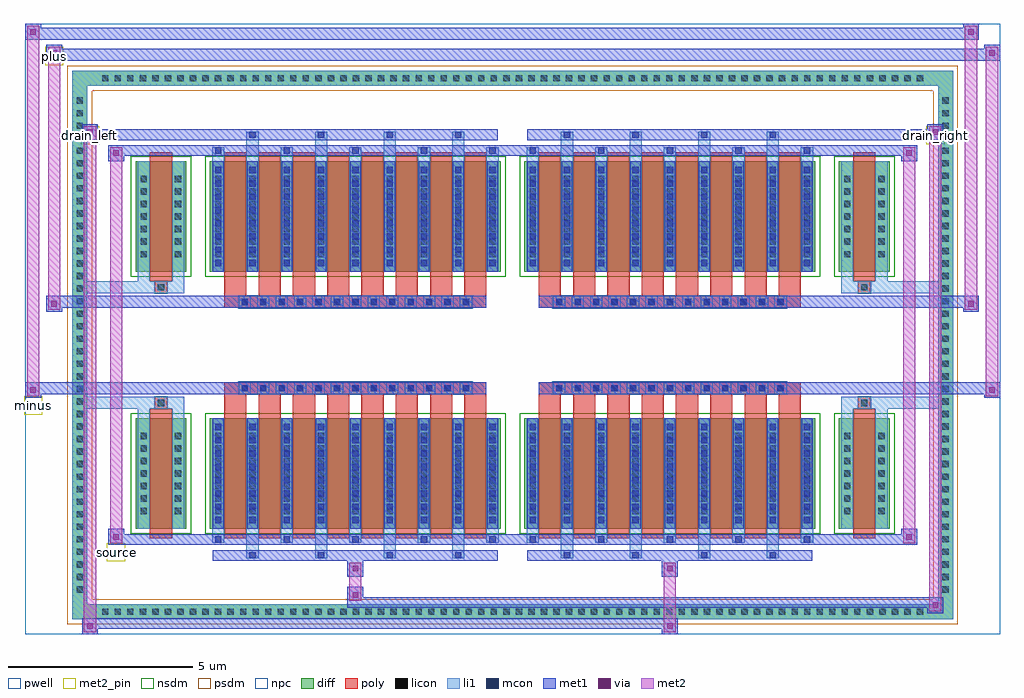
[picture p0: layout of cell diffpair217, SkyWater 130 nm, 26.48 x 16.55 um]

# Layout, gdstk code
import gdstk
lib = gdstk.Library(unit=1e-6, precision=5e-09)
def R(c, l, rs):  # rectangles x0, y0, x1, y1
    for r in rs: c.add(gdstk.rectangle(r[:2], r[2:], *l))
def A(c, l, x, y, w, h, nx, ny, dx, dy):  # array of equal rectangles
    R(c, l, [(x+i*dx, y+j*dy, x+i*dx+w, y+j*dy+h) for i in range(nx) for j in range(ny)])
def P(c, l, *ps):  # polygons
    for p in ps: c.add(gdstk.Polygon(p, *l))
pwell = (64, 44)
diff = (65, 20)
poly = (66, 20)
licon = (66, 44)
li1 = (67, 20)
mcon = (67, 44)
met1 = (68, 20)
via = (68, 44)
met2_pin = (69, 16)
met2 = (69, 20)
nsdm = (93, 44)
psdm = (94, 20)
npc = (95, 20)

diffpair217 = lib.new_cell('diffpair217')
R(diffpair217, pwell, [(-13.22,-7.84,13.22,8.71), (-10.54,-6.03,-0.01,-0.805), (0.01,-6.03,10.54,-0.805), (-10.54,0.805,-0.01,6.03), (0.01,0.805,10.54,6.03)])
A(diffpair217, diff, -11.255, -7.44, 0.41, 0.41, 66, 2, 0.34, 14.47)
A(diffpair217, diff, -11.95, -6.835, 0.41, 0.41, 1, 40, 0, 0.34)
A(diffpair217, diff, 11.54, -6.835, 0.41, 0.41, 1, 40, 0, 0.34)
R(diffpair217, diff, [(-11.255,-7.44,11.255,-7.03), (-11.95,-6.835,-11.54,6.835), (11.54,-6.835,11.95,6.835), (-10.23,-4.985,-8.85,-1.985), (-8.21,-4.985,-0.32,-1.985), (0.32,-4.985,8.21,-1.985), (8.85,-4.985,10.23,-1.985), (-10.23,1.985,-8.85,4.985), (-8.21,1.985,-0.32,4.985), (0.32,1.985,8.21,4.985), (8.85,1.985,10.23,4.985), (-11.255,7.03,11.255,7.44)])
P(diffpair217, diff, [(11.95,7.44),(-11.95,7.44),(-11.95,-7.03),(-11.54,-7.03),(-11.54,7.03),(11.54,7.03),(11.54,-7.03),(-11.54,-7.03),(-11.95,-7.03),(-11.95,-7.44),(11.95,-7.44)])
A(diffpair217, poly, -7.82, -5.235, 0.6, 3.5, 8, 2, 0.93, 6.97)
A(diffpair217, poly, 0.71, -5.235, 0.6, 3.5, 8, 2, 0.93, 6.97)
A(diffpair217, poly, -7.82, -1.735, 0.6, 0.4, 8, 2, 0.93, 3.07)
A(diffpair217, poly, 0.71, -1.735, 0.6, 0.4, 8, 2, 0.93, 3.07)
A(diffpair217, poly, -7.43, -1.335, 0.33, 0.33, 13, 2, 0.5, 2.34)
A(diffpair217, poly, 1.1, -1.335, 0.33, 0.33, 13, 2, 0.5, 2.34)
R(diffpair217, poly, [(-9.84,-5.235,-9.24,-1.735), (9.24,-5.235,9.84,-1.735), (-9.705,-1.735,-9.375,-1.405), (-9.705,-1.735,-9.375,-1.405), (9.375,-1.735,9.705,-1.405), (9.375,-1.735,9.705,-1.405), (-7.82,-1.335,-0.71,-1.005), (0.71,-1.335,7.82,-1.005), (-7.82,1.005,-0.71,1.335), (0.71,1.005,7.82,1.335), (-9.705,1.405,-9.375,1.735), (-9.705,1.405,-9.375,1.735), (9.375,1.405,9.705,1.735), (9.375,1.405,9.705,1.735), (-9.84,1.735,-9.24,5.235), (9.24,1.735,9.84,5.235)])
A(diffpair217, licon, -11.135, -7.32, 0.17, 0.17, 66, 2, 0.34, 14.47)
A(diffpair217, licon, -11.83, -6.715, 0.17, 0.17, 1, 40, 0, 0.34)
A(diffpair217, licon, 11.66, -6.715, 0.17, 0.17, 1, 40, 0, 0.34)
A(diffpair217, licon, -10.09, -4.59, 0.17, 0.17, 1, 7, 0, 0.34)
A(diffpair217, licon, -9.16, -4.59, 0.17, 0.17, 1, 7, 0, 0.34)
A(diffpair217, licon, -8.07, -4.59, 0.17, 0.17, 9, 7, 0.93, 0.34)
A(diffpair217, licon, 0.46, -4.59, 0.17, 0.17, 9, 7, 0.93, 0.34)
A(diffpair217, licon, 8.99, -4.59, 0.17, 0.17, 1, 7, 0, 0.34)
A(diffpair217, licon, 9.92, -4.59, 0.17, 0.17, 1, 7, 0, 0.34)
A(diffpair217, licon, -7.35, -1.255, 0.17, 0.17, 13, 2, 0.5, 2.34)
A(diffpair217, licon, 1.18, -1.255, 0.17, 0.17, 13, 2, 0.5, 2.34)
A(diffpair217, licon, -10.09, 2.38, 0.17, 0.17, 1, 7, 0, 0.34)
A(diffpair217, licon, -9.16, 2.38, 0.17, 0.17, 1, 7, 0, 0.34)
A(diffpair217, licon, -8.07, 2.38, 0.17, 0.17, 9, 7, 0.93, 0.34)
A(diffpair217, licon, 0.46, 2.38, 0.17, 0.17, 9, 7, 0.93, 0.34)
A(diffpair217, licon, 8.99, 2.38, 0.17, 0.17, 1, 7, 0, 0.34)
A(diffpair217, licon, 9.92, 2.38, 0.17, 0.17, 1, 7, 0, 0.34)
R(diffpair217, licon, [(-9.625,-1.655,-9.455,-1.485), (9.455,-1.655,9.625,-1.485), (-9.625,1.485,-9.455,1.655), (9.455,1.485,9.625,1.655)])
A(diffpair217, li1, -11.215, -7.4, 0.33, 0.33, 66, 2, 0.34, 14.47)
A(diffpair217, li1, -11.91, -6.795, 0.33, 0.33, 1, 40, 0, 0.34)
A(diffpair217, li1, 11.58, -6.795, 0.33, 0.33, 1, 40, 0, 0.34)
A(diffpair217, li1, -7.22, -5.79, 0.33, 0.805, 4, 2, 1.86, 10.775)
A(diffpair217, li1, -7.14, -5.79, 0.17, 0.17, 4, 2, 1.86, 11.41)
A(diffpair217, li1, 1.31, -5.79, 0.33, 0.805, 4, 2, 1.86, 10.775)
A(diffpair217, li1, 1.39, -5.79, 0.17, 0.17, 4, 2, 1.86, 11.41)
A(diffpair217, li1, -8.15, -5.36, 0.33, 0.375, 5, 2, 1.86, 10.345)
A(diffpair217, li1, -8.07, -5.36, 0.17, 0.17, 5, 2, 1.86, 10.55)
A(diffpair217, li1, 0.38, -5.36, 0.33, 0.375, 5, 2, 1.86, 10.345)
A(diffpair217, li1, 0.46, -5.36, 0.17, 0.17, 5, 2, 1.86, 10.55)
A(diffpair217, li1, -8.15, -4.985, 0.33, 3, 9, 2, 0.93, 6.97)
A(diffpair217, li1, 0.38, -4.985, 0.33, 3, 9, 2, 0.93, 6.97)
A(diffpair217, li1, -8.07, -4.83, 0.17, 0.17, 9, 8, 0.93, 0.36)
A(diffpair217, li1, -8.07, -4.83, 0.17, 2.69, 9, 2, 0.93, 6.97)
A(diffpair217, li1, 0.46, -4.83, 0.17, 0.17, 9, 8, 0.93, 0.36)
A(diffpair217, li1, 0.46, -4.83, 0.17, 2.69, 9, 2, 0.93, 6.97)
A(diffpair217, li1, -10.17, -4.67, 0.33, 0.33, 1, 7, 0, 0.34)
A(diffpair217, li1, -9.24, -4.67, 0.33, 0.33, 1, 7, 0, 0.34)
A(diffpair217, li1, -8.15, -4.67, 0.33, 0.33, 9, 7, 0.93, 0.34)
A(diffpair217, li1, 0.38, -4.67, 0.33, 0.33, 9, 7, 0.93, 0.34)
A(diffpair217, li1, 8.91, -4.67, 0.33, 0.33, 1, 7, 0, 0.34)
A(diffpair217, li1, 9.84, -4.67, 0.33, 0.33, 1, 7, 0, 0.34)
A(diffpair217, li1, -7.43, -1.335, 0.33, 0.33, 13, 2, 0.5, 2.34)
A(diffpair217, li1, 1.1, -1.335, 0.33, 0.33, 13, 2, 0.5, 2.34)
A(diffpair217, li1, -8.07, 2.14, 0.17, 0.17, 9, 8, 0.93, 0.36)
A(diffpair217, li1, 0.46, 2.14, 0.17, 0.17, 9, 8, 0.93, 0.36)
A(diffpair217, li1, -10.17, 2.3, 0.33, 0.33, 1, 7, 0, 0.34)
A(diffpair217, li1, -9.24, 2.3, 0.33, 0.33, 1, 7, 0, 0.34)
A(diffpair217, li1, -8.15, 2.3, 0.33, 0.33, 9, 7, 0.93, 0.34)
A(diffpair217, li1, 0.38, 2.3, 0.33, 0.33, 9, 7, 0.93, 0.34)
A(diffpair217, li1, 8.91, 2.3, 0.33, 0.33, 1, 7, 0, 0.34)
A(diffpair217, li1, 9.84, 2.3, 0.33, 0.33, 1, 7, 0, 0.34)
R(diffpair217, li1, [(-11.95,-7.44,-11.54,-7.03), (-11.95,-7.44,-11.54,-7.03), (-11.54,-7.44,11.54,-7.03), (11.54,-7.44,11.95,-7.03), (11.54,-7.44,11.95,-7.03), (-11.95,-7.03,-11.54,7.03), (11.54,-7.03,11.95,7.03), (-10.17,-4.985,-9.84,-1.985), (-9.24,-4.985,-8.91,-1.985), (8.91,-4.985,9.24,-1.985), (9.84,-4.985,10.17,-1.985), (-10.17,-1.985,-9.84,-1.405), (-9.24,-1.985,-8.91,-1.405), (8.91,-1.985,9.24,-1.405), (9.84,-1.985,10.17,-1.405), (-11.95,-1.735,-9.705,-1.405), (-10.17,-1.735,-9.705,-1.405), (-9.705,-1.735,-9.375,-1.405), (-9.375,-1.735,-8.91,-1.405), (8.91,-1.735,9.375,-1.405), (9.375,-1.735,9.705,-1.405), (9.375,-1.735,11.95,-1.405), (9.705,-1.735,10.17,-1.405), (-11.95,1.405,-9.705,1.735), (-10.17,1.405,-9.705,1.735), (-10.17,1.405,-9.84,1.985), (-9.705,1.405,-9.375,1.735), (-9.375,1.405,-8.91,1.735), (-9.24,1.405,-8.91,1.985), (8.91,1.405,9.375,1.735), (8.91,1.405,9.24,1.985), (9.375,1.405,9.705,1.735), (9.375,1.405,11.95,1.735), (9.705,1.405,10.17,1.735), (9.84,1.405,10.17,1.985), (-10.17,1.985,-9.84,4.985), (-9.24,1.985,-8.91,4.985), (8.91,1.985,9.24,4.985), (9.84,1.985,10.17,4.985), (-11.95,7.03,-11.54,7.44), (-11.95,7.03,-11.54,7.44), (-11.54,7.03,11.54,7.44), (11.54,7.03,11.95,7.44), (11.54,7.03,11.95,7.44)])
A(diffpair217, mcon, -7.14, -5.79, 0.17, 0.17, 4, 2, 1.86, 11.41)
A(diffpair217, mcon, 1.39, -5.79, 0.17, 0.17, 4, 2, 1.86, 11.41)
A(diffpair217, mcon, -8.07, -5.36, 0.17, 0.17, 5, 2, 1.86, 10.55)
A(diffpair217, mcon, 0.46, -5.36, 0.17, 0.17, 5, 2, 1.86, 10.55)
A(diffpair217, mcon, -8.07, -4.83, 0.17, 0.17, 9, 8, 0.93, 0.36)
A(diffpair217, mcon, 0.46, -4.83, 0.17, 0.17, 9, 8, 0.93, 0.36)
A(diffpair217, mcon, -7.35, -1.255, 0.17, 0.17, 13, 2, 0.5, 2.34)
A(diffpair217, mcon, 1.18, -1.255, 0.17, 0.17, 13, 2, 0.5, 2.34)
A(diffpair217, mcon, -8.07, 2.14, 0.17, 0.17, 9, 8, 0.93, 0.36)
A(diffpair217, mcon, 0.46, 2.14, 0.17, 0.17, 9, 8, 0.93, 0.36)
A(diffpair217, met1, -7.2, -5.85, 0.29, 0.29, 4, 2, 1.86, 11.41)
A(diffpair217, met1, 1.33, -5.85, 0.29, 0.29, 4, 2, 1.86, 11.41)
A(diffpair217, met1, -8.13, -5.42, 0.29, 0.29, 5, 2, 1.86, 10.55)
A(diffpair217, met1, 0.4, -5.42, 0.29, 0.29, 5, 2, 1.86, 10.55)
A(diffpair217, met1, -8.13, -4.985, 0.29, 3, 9, 2, 0.93, 6.97)
A(diffpair217, met1, 0.4, -4.985, 0.29, 3, 9, 2, 0.93, 6.97)
A(diffpair217, met1, -8.13, -4.89, 0.29, 0.29, 9, 8, 0.93, 0.36)
A(diffpair217, met1, 0.4, -4.89, 0.29, 0.29, 9, 8, 0.93, 0.36)
A(diffpair217, met1, -7.41, -1.315, 0.29, 0.29, 13, 2, 0.5, 2.34)
A(diffpair217, met1, 1.12, -1.315, 0.29, 0.29, 13, 2, 0.5, 2.34)
A(diffpair217, met1, -8.13, 2.08, 0.29, 0.29, 9, 8, 0.93, 0.36)
A(diffpair217, met1, 0.4, 2.08, 0.29, 0.29, 9, 8, 0.93, 0.36)
R(diffpair217, met1, [(-11.68,-7.84,-11.25,-7.41), (4.05,-7.84,4.48,-7.41), (-11.68,-7.7,4.48,-7.41), (11.25,-7.27,11.68,-6.84), (-4.48,-7.13,11.68,-6.84), (-4.48,-6.99,-4.05,-6.56), (-4.48,-6.28,-4.05,-5.85), (4.05,-6.28,4.48,-5.85), (-8.13,-5.85,-0.4,-5.56), (0.4,-5.85,8.13,-5.56), (-10.97,-5.42,-10.54,-4.99), (-10.97,-5.42,-8.13,-5.13), (-8.13,-5.42,-0.4,-5.13), (-0.4,-5.42,0.4,-5.13), (0.4,-5.42,8.13,-5.13), (8.13,-5.42,10.97,-5.13), (10.54,-5.42,10.97,-4.99), (-13.22,-1.435,-12.79,-1.005), (12.79,-1.435,13.22,-1.005), (-13.22,-1.335,-0.71,-1.005), (-7.82,-1.335,-0.71,-1.005), (0.71,-1.335,7.82,-1.005), (0.71,-1.335,13.22,-1.005), (-12.65,0.905,-12.22,1.335), (12.22,0.905,12.65,1.335), (-12.65,1.005,-7.82,1.335), (-7.82,1.005,-0.71,1.335), (0.71,1.005,7.82,1.335), (7.82,1.005,12.65,1.335), (-10.97,4.99,-10.54,5.42), (10.54,4.99,10.97,5.42), (-10.97,5.13,-8.13,5.42), (-8.13,5.13,-0.4,5.42), (-0.4,5.13,0.4,5.42), (0.4,5.13,8.13,5.42), (8.13,5.13,10.97,5.42), (-11.68,5.56,-11.25,5.99), (-11.68,5.56,-8.13,5.85), (-8.13,5.56,-0.4,5.85), (0.4,5.56,8.13,5.85), (8.13,5.56,11.68,5.85), (11.25,5.56,11.68,5.99), (-12.65,7.71,-12.22,8.14), (-12.65,7.71,-10.54,8.04), (-10.54,7.71,10.54,8.04), (10.54,7.71,13.22,8.04), (12.79,7.71,13.22,8.14), (-13.22,8.28,-12.79,8.71), (-13.22,8.28,-10.54,8.61), (-10.54,8.28,10.54,8.61), (10.54,8.28,12.65,8.61), (12.22,8.28,12.65,8.71)])
R(diffpair217, via, [(-11.54,-7.7,-11.39,-7.55), (4.19,-7.7,4.34,-7.55), (11.39,-7.13,11.54,-6.98), (-4.34,-6.85,-4.19,-6.7), (-4.34,-6.14,-4.19,-5.99), (4.19,-6.14,4.34,-5.99), (-10.83,-5.28,-10.68,-5.13), (10.68,-5.28,10.83,-5.13), (-13.08,-1.295,-12.93,-1.145), (12.93,-1.295,13.08,-1.145), (-12.51,1.045,-12.36,1.195), (12.36,1.045,12.51,1.195), (-10.83,5.13,-10.68,5.28), (10.68,5.13,10.83,5.28), (-11.54,5.7,-11.39,5.85), (11.39,5.7,11.54,5.85), (-12.51,7.85,-12.36,8), (12.93,7.85,13.08,8), (-13.08,8.42,-12.93,8.57), (12.36,8.42,12.51,8.57)])
R(diffpair217, met2_pin, [(-11.005,-5.87,-10.505,-5.37), (-13.255,-1.885,-12.755,-1.385), (-11.715,5.44,-11.215,5.94), (11.215,5.44,11.715,5.94), (-12.685,7.59,-12.185,8.09)])
R(diffpair217, met2, [(-11.63,-7.79,-11.3,-7.46), (-11.63,-7.79,-11.3,5.94), (4.1,-7.79,4.43,-7.46), (4.1,-7.46,4.43,-6.23), (11.3,-7.22,11.63,-6.89), (11.3,-7.22,11.63,5.94), (-4.43,-6.94,-4.1,-6.61), (-4.43,-6.61,-4.1,-6.23), (-4.43,-6.23,-4.1,-5.9), (4.1,-6.23,4.43,-5.9), (-10.92,-5.37,-10.59,-5.04), (-10.92,-5.37,-10.59,5.37), (10.59,-5.37,10.92,-5.04), (10.59,-5.37,10.92,5.37), (-13.17,-1.385,-12.84,-1.055), (-13.17,-1.385,-12.84,8.66), (12.84,-1.385,13.17,-1.055), (12.84,-1.385,13.17,8.09), (-12.6,0.955,-12.27,1.285), (-12.6,0.955,-12.27,8.09), (12.27,0.955,12.6,1.285), (12.27,0.955,12.6,8.66), (-10.92,5.04,-10.59,5.37), (10.59,5.04,10.92,5.37), (-11.63,5.61,-11.3,5.94), (11.3,5.61,11.63,5.94), (-12.6,7.76,-12.27,8.09), (12.84,7.76,13.17,8.09), (-13.17,8.33,-12.84,8.66), (12.27,8.33,12.6,8.66)])
P(diffpair217, met2, [(13.17,-1.385),(13.17,-1.385),(13.17,-1.055),(13.17,-1.055)],
  [(13.17,7.76),(13.17,7.76),(13.17,8.09),(13.17,8.09)],
  [(-12.84,-1.385),(-12.84,-1.385),(-12.84,-1.055),(-12.84,-1.055)],
  [(-12.84,8.33),(-12.84,8.33),(-12.84,8.66),(-12.84,8.66)],
  [(12.6,0.955),(12.6,0.955),(12.6,1.285),(12.6,1.285)],
  [(12.6,8.33),(12.6,8.33),(12.6,8.66),(12.6,8.66)],
  [(-12.27,0.955),(-12.27,0.955),(-12.27,1.285),(-12.27,1.285)],
  [(-12.27,7.76),(-12.27,7.76),(-12.27,8.09),(-12.27,8.09)],
  [(-11.3,-7.79),(-11.3,-7.79),(-11.3,-7.46),(-11.3,-7.46)],
  [(-11.3,5.61),(-11.3,5.61),(-11.3,5.94),(-11.3,5.94)],
  [(11.63,-7.22),(11.63,-7.22),(11.63,-6.89),(11.63,-6.89)],
  [(11.63,5.61),(11.63,5.61),(11.63,5.94),(11.63,5.94)],
  [(-10.59,-5.37),(-10.59,-5.37),(-10.59,-5.04),(-10.59,-5.04)],
  [(-10.59,5.04),(-10.59,5.04),(-10.59,5.37),(-10.59,5.37)],
  [(10.92,-5.37),(10.92,-5.37),(10.92,-5.04),(10.92,-5.04)],
  [(10.92,5.04),(10.92,5.04),(10.92,5.37),(10.92,5.37)])
R(diffpair217, nsdm, [(-10.36,-5.115,-8.72,-1.855), (-8.34,-5.115,-0.19,-1.855), (0.19,-5.115,8.34,-1.855), (8.72,-5.115,10.36,-1.855), (-10.36,1.855,-8.72,5.115), (-8.34,1.855,-0.19,5.115), (0.19,1.855,8.34,5.115), (8.72,1.855,10.36,5.115)])
P(diffpair217, psdm, [(12.08,7.57),(-12.08,7.57),(-12.08,-6.9),(-11.41,-6.9),(-11.41,6.9),(11.41,6.9),(11.41,-6.9),(-11.41,-6.9),(-12.08,-6.9),(-12.08,-7.57),(12.08,-7.57)])
A(diffpair217, npc, -7.45, -1.355, 0.37, 0.37, 13, 2, 0.5, 2.34)
A(diffpair217, npc, 1.08, -1.355, 0.37, 0.37, 13, 2, 0.5, 2.34)
R(diffpair217, npc, [(-9.725,-1.755,-9.355,-1.385), (9.355,-1.755,9.725,-1.385), (-7.45,-1.355,-6.58,-0.985), (-7.45,-1.355,-6.58,-0.985), (-6.95,-1.355,-6.08,-0.985), (-6.95,-1.355,-6.08,-0.985), (-6.45,-1.355,-5.58,-0.985), (-6.45,-1.355,-5.58,-0.985), (-5.95,-1.355,-5.08,-0.985), (-5.95,-1.355,-5.08,-0.985), (-5.45,-1.355,-4.58,-0.985), (-5.45,-1.355,-4.58,-0.985), (-4.95,-1.355,-4.08,-0.985), (-4.95,-1.355,-4.08,-0.985), (-4.45,-1.355,-3.58,-0.985), (-4.45,-1.355,-3.58,-0.985), (-3.95,-1.355,-3.08,-0.985), (-3.95,-1.355,-3.08,-0.985), (-3.45,-1.355,-2.58,-0.985), (-3.45,-1.355,-2.58,-0.985), (-2.95,-1.355,-2.08,-0.985), (-2.95,-1.355,-2.08,-0.985), (-2.45,-1.355,-1.58,-0.985), (-2.45,-1.355,-1.58,-0.985), (-1.95,-1.355,-1.08,-0.985), (-1.95,-1.355,-1.08,-0.985), (1.08,-1.355,1.95,-0.985), (1.08,-1.355,1.95,-0.985), (1.58,-1.355,2.45,-0.985), (1.58,-1.355,2.45,-0.985), (2.08,-1.355,2.95,-0.985), (2.08,-1.355,2.95,-0.985), (2.58,-1.355,3.45,-0.985), (2.58,-1.355,3.45,-0.985), (3.08,-1.355,3.95,-0.985), (3.08,-1.355,3.95,-0.985), (3.58,-1.355,4.45,-0.985), (3.58,-1.355,4.45,-0.985), (4.08,-1.355,4.95,-0.985), (4.08,-1.355,4.95,-0.985), (4.58,-1.355,5.45,-0.985), (4.58,-1.355,5.45,-0.985), (5.08,-1.355,5.95,-0.985), (5.08,-1.355,5.95,-0.985), (5.58,-1.355,6.45,-0.985), (5.58,-1.355,6.45,-0.985), (6.08,-1.355,6.95,-0.985), (6.08,-1.355,6.95,-0.985), (6.58,-1.355,7.45,-0.985), (6.58,-1.355,7.45,-0.985), (-7.45,0.985,-6.58,1.355), (-7.45,0.985,-6.58,1.355), (-6.95,0.985,-6.08,1.355), (-6.95,0.985,-6.08,1.355), (-6.45,0.985,-5.58,1.355), (-6.45,0.985,-5.58,1.355), (-5.95,0.985,-5.08,1.355), (-5.95,0.985,-5.08,1.355), (-5.45,0.985,-4.58,1.355), (-5.45,0.985,-4.58,1.355), (-4.95,0.985,-4.08,1.355), (-4.95,0.985,-4.08,1.355), (-4.45,0.985,-3.58,1.355), (-4.45,0.985,-3.58,1.355), (-3.95,0.985,-3.08,1.355), (-3.95,0.985,-3.08,1.355), (-3.45,0.985,-2.58,1.355), (-3.45,0.985,-2.58,1.355), (-2.95,0.985,-2.08,1.355), (-2.95,0.985,-2.08,1.355), (-2.45,0.985,-1.58,1.355), (-2.45,0.985,-1.58,1.355), (-1.95,0.985,-1.08,1.355), (-1.95,0.985,-1.08,1.355), (1.08,0.985,1.95,1.355), (1.08,0.985,1.95,1.355), (1.58,0.985,2.45,1.355), (1.58,0.985,2.45,1.355), (2.08,0.985,2.95,1.355), (2.08,0.985,2.95,1.355), (2.58,0.985,3.45,1.355), (2.58,0.985,3.45,1.355), (3.08,0.985,3.95,1.355), (3.08,0.985,3.95,1.355), (3.58,0.985,4.45,1.355), (3.58,0.985,4.45,1.355), (4.08,0.985,4.95,1.355), (4.08,0.985,4.95,1.355), (4.58,0.985,5.45,1.355), (4.58,0.985,5.45,1.355), (5.08,0.985,5.95,1.355), (5.08,0.985,5.95,1.355), (5.58,0.985,6.45,1.355), (5.58,0.985,6.45,1.355), (6.08,0.985,6.95,1.355), (6.08,0.985,6.95,1.355), (6.58,0.985,7.45,1.355), (6.58,0.985,7.45,1.355), (-9.725,1.385,-9.355,1.755), (9.355,1.385,9.725,1.755)])
diffpair217.add(gdstk.Label('minus', (-13.005,-1.635), layer=69, texttype=5))
diffpair217.add(gdstk.Label('drain_right', (11.465,5.69), layer=69, texttype=5))
diffpair217.add(gdstk.Label('drain_left', (-11.465,5.69), layer=69, texttype=5))
diffpair217.add(gdstk.Label('source', (-10.755,-5.62), layer=69, texttype=5))
diffpair217.add(gdstk.Label('plus', (-12.435,7.84), layer=69, texttype=5))

lib.write_gds('diffpair217.gds')
